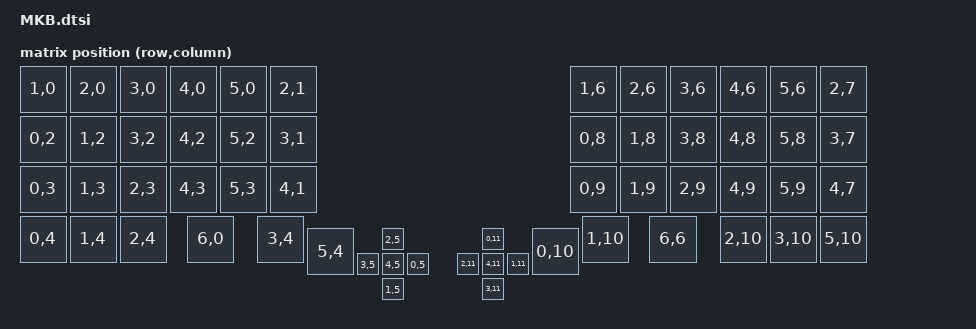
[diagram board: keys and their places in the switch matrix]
#include <dt-bindings/zmk/matrix_transform.h>
#include <physical_layouts.dtsi>
#include <behaviors/rgbled_widget.dtsi>

/ {
	chosen {
		zmk,physical-layout = &layout_MKB;
      zephyr,display = &oled;
	};
   
   kscan0: kscan0 {
      compatible = "zmk,kscan-composite";
      matrix {
         kscan = <&kscan1>;
      };
      direct {
         row-offset = <6>;
         kscan = <&kscan2>;
      };
   };

   kscan1: kscan1 {
      compatible = "zmk,kscan-gpio-charlieplex";
      interrupt-gpios = <&xiao_d 6 (GPIO_ACTIVE_HIGH)>;
      gpios
         = <&xiao_d  0 (GPIO_ACTIVE_HIGH)>
         , <&xiao_d  1 (GPIO_ACTIVE_HIGH)>
         , <&xiao_d  2 (GPIO_ACTIVE_HIGH)>
         , <&xiao_d  3 (GPIO_ACTIVE_HIGH)>
         , <&gpio0   9 (GPIO_ACTIVE_HIGH)>
         , <&gpio0  10 (GPIO_ACTIVE_HIGH)>
         ;
   };
   
   kscan2: kscan2 {
      compatible = "zmk,kscan-mock";
      columns = <0>;
      rows = <0>;
      events = <0>;
   };
   
	default_transform: keymap_transform_0 {
		compatible = "zmk,matrix-transform";
		columns = <12>;
		rows = <5>;
		
		map = <
		RC( 1, 0)  RC( 2, 0)  RC( 3, 0)  RC( 4, 0)  RC( 5, 0)  RC( 2, 1)     RC( 1, 6)  RC( 2, 6)  RC( 3, 6)  RC( 4, 6)  RC( 5, 6)  RC( 2, 7)
		RC( 0, 2)  RC( 1, 2)  RC( 3, 2)  RC( 4, 2)  RC( 5, 2)  RC( 3, 1)     RC( 0, 8)  RC( 1, 8)  RC( 3, 8)  RC( 4, 8)  RC( 5, 8)  RC( 3, 7)
		RC( 0, 3)  RC( 1, 3)  RC( 2, 3)  RC( 4, 3)  RC( 5, 3)  RC( 4, 1)     RC( 0, 9)  RC( 1, 9)  RC( 2, 9)  RC( 4, 9)  RC( 5, 9)  RC( 4, 7)
		RC( 0, 4)  RC( 1, 4)  RC( 2, 4)             RC( 3, 4)  RC( 5, 4)     RC( 0,10)  RC( 1,10)             RC( 2,10)  RC( 3,10)  RC( 5,10)
                 RC( 3, 5)  RC( 2, 5)  RC( 4, 5)  RC( 1, 5)  RC( 0, 5)     RC( 2,11)  RC( 0,11)  RC( 4,11)  RC( 3,11)  RC( 1,11)
      RC( 6, 0)                                                            RC( 6, 6)
		>;
	};

layout_MKB: layout_MKB {
		compatible = "zmk,physical-layout";
		display-name = "MKB";
		transform = <&default_transform>;
		kscan = <&kscan0>;
		
        keys  //                     w   h    x    y     rot    rx    ry
            = <&key_physical_attrs 100 100    0    0       0     0     0>
            , <&key_physical_attrs 100 100  100    0       0     0     0>
            , <&key_physical_attrs 100 100  200    0       0     0     0>
            , <&key_physical_attrs 100 100  300    0       0     0     0>
            , <&key_physical_attrs 100 100  400    0       0     0     0>
            , <&key_physical_attrs 100 100  500    0       0     0     0>
            , <&key_physical_attrs 100 100 1100    0       0     0     0>
            , <&key_physical_attrs 100 100 1200    0       0     0     0>
            , <&key_physical_attrs 100 100 1300    0       0     0     0>
            , <&key_physical_attrs 100 100 1400    0       0     0     0>
            , <&key_physical_attrs 100 100 1500    0       0     0     0>
            , <&key_physical_attrs 100 100 1600    0       0     0     0>
            , <&key_physical_attrs 100 100    0  100       0     0     0>
            , <&key_physical_attrs 100 100  100  100       0     0     0>
            , <&key_physical_attrs 100 100  200  100       0     0     0>
            , <&key_physical_attrs 100 100  300  100       0     0     0>
            , <&key_physical_attrs 100 100  400  100       0     0     0>
            , <&key_physical_attrs 100 100  500  100       0     0     0>
            , <&key_physical_attrs 100 100 1100  100       0     0     0>
            , <&key_physical_attrs 100 100 1200  100       0     0     0>
            , <&key_physical_attrs 100 100 1300  100       0     0     0>
            , <&key_physical_attrs 100 100 1400  100       0     0     0>
            , <&key_physical_attrs 100 100 1500  100       0     0     0>
            , <&key_physical_attrs 100 100 1600  100       0     0     0>
            , <&key_physical_attrs 100 100    0  200       0     0     0>
            , <&key_physical_attrs 100 100  100  200       0     0     0>
            , <&key_physical_attrs 100 100  200  200       0     0     0>
            , <&key_physical_attrs 100 100  300  200       0     0     0>
            , <&key_physical_attrs 100 100  400  200       0     0     0>
            , <&key_physical_attrs 100 100  500  200       0     0     0>
            , <&key_physical_attrs 100 100 1100  200       0     0     0>
            , <&key_physical_attrs 100 100 1200  200       0     0     0>
            , <&key_physical_attrs 100 100 1300  200       0     0     0>
            , <&key_physical_attrs 100 100 1400  200       0     0     0>
            , <&key_physical_attrs 100 100 1500  200       0     0     0>
            , <&key_physical_attrs 100 100 1600  200       0     0     0>
            , <&key_physical_attrs 100 100    0  300       0     0     0>
            , <&key_physical_attrs 100 100  100  300       0     0     0>
            , <&key_physical_attrs 100 100  200  300       0     0     0>
            , <&key_physical_attrs 100 100  475  300       0     0     0>
            , <&key_physical_attrs 100 100  575  325       0     0     0>
            , <&key_physical_attrs 100 100 1025  325       0     0     0>
            , <&key_physical_attrs 100 100 1125  300       0     0     0>
            , <&key_physical_attrs 100 100 1400  300       0     0     0>
            , <&key_physical_attrs 100 100 1500  300       0     0     0>
            , <&key_physical_attrs 100 100 1600  300       0     0     0>
            , <&key_physical_attrs  50  50  675  375       0     0     0>
            , <&key_physical_attrs  50  50  725  325       0     0     0>
            , <&key_physical_attrs  50  50  725  375       0     0     0>
            , <&key_physical_attrs  50  50  725  425       0     0     0>
            , <&key_physical_attrs  50  50  775  375       0     0     0>
            , <&key_physical_attrs  50  50  875  375       0     0     0>
            , <&key_physical_attrs  50  50  925  325       0     0     0>
            , <&key_physical_attrs  50  50  925  375       0     0     0>
            , <&key_physical_attrs  50  50  925  425       0     0     0>
            , <&key_physical_attrs  50  50  975  375       0     0     0>
            , <&key_physical_attrs 100 100  335  300       0     0     0>
            , <&key_physical_attrs 100 100 1260  300       0     0     0>
            ;
    };

   position_map {
        compatible = "zmk,physical-layout-position-map";

        layout_MKB {
            physical-layout = <&layout_MKB>;
            positions = <>;
        };
    };

   aliases {
      led-red = &led0;
      led-green = &led1;
      led-blue = &led2;
   };

   leds {
      compatible = "gpio-leds";
      status = "okay";
      led0: led_0 {
        gpios = <&gpio0 26 GPIO_ACTIVE_LOW>;  // red LED, connected to P0.26
      };
      led1: led_1 {
        gpios = <&gpio0 30 GPIO_ACTIVE_LOW>;  // green LED, connected to P0.30
      };
      led2: led_2 {
        gpios = <&gpio0 6 GPIO_ACTIVE_LOW>;  // blue LED, connected to P0.06
      };
   };
   
   // Encoders
   left_encoder: left_encoder {
      compatible = "alps,ec11";
      status = "disabled";
   };

   right_encoder: right_encoder {
      compatible = "alps,ec11";
      status = "disabled";
   };

   sensors: sensors {
      compatible = "zmk,keymap-sensors";
      sensors = <&left_encoder &right_encoder>;
   };
};

&pinctrl {    
    i2c1_default: i2c1_default {
        group1 {
            psels = <NRF_PSEL(TWIM_SDA, 1, 14)>,
                    <NRF_PSEL(TWIM_SCL, 1, 15)>;
            bias-pull-up;
        };
    };
      
    i2c1_sleep: i2c1_sleep {
        group1 {
            psels = <NRF_PSEL(TWIM_SDA, 1, 14)>,
                    <NRF_PSEL(TWIM_SCL, 1, 15)>;
            low-power-enable;
            bias-pull-up;
        };
    };
};

&i2c1 {
    status = "okay";
    compatible = "nordic,nrf-twi";
    pinctrl-0 = <&i2c1_default>;
    pinctrl-1 = <&i2c1_sleep>;
    pinctrl-names = "default", "sleep";
    clock-frequency = <100000>; 
    
    oled: ssd1306@3c {
        compatible = "solomon,ssd1306fb";
        reg = <0x3c>;
        width = <128>;
        height = <32>;
        segment-offset = <0>;
        page-offset = <0>;
        display-offset = <0>;
        multiplex-ratio = <31>;
        segment-remap;
        com-invdir;
        com-sequential;
        inversion-on;
        prechargep = <0x22>;
    };
};
